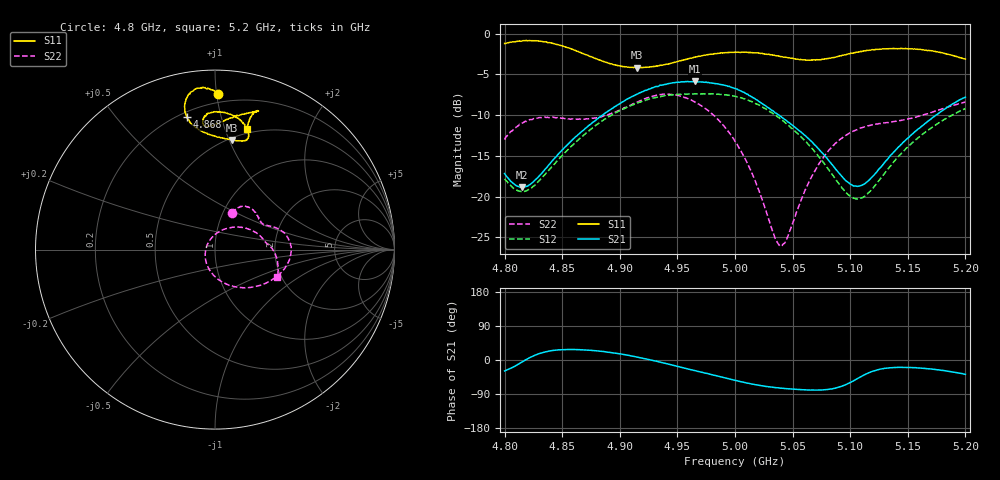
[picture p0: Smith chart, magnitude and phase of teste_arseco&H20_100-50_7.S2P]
! Network Analyzer HP8722D
! Hewlett-Packard
! Data name: Linha & Wilkinson
! Saver's name: Rodrigo Anjos
! Comments: Teste da utilização de aquisição
! continua pelo VNA HP8722D
! Time and date: 6/5/2025 12:37
!  Frequency  S11  S21  S12  S22
# HZ  S  MA R 50
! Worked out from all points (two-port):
!   401 points, 4.8 GHz to 5.2 GHz, reference 50 ohm
!   highest |S21| = -5.87 dB at 4.965 GHz (marker M1); lowest = -18.9 dB at 4.815 GHz (marker M2)
!   |S21| within 3 dB of the highest: 4.897 GHz to 5.027 GHz (129.5 MHz wide, 2.61 % of centre); 5.186321 GHz to end of sweep
!   lowest |S11| = -4.2 dB at 4.915 GHz (marker M3), VSWR 4.23, Z = 26 + j51.2 ohm
!   |S11| at or under -10 dB: nowhere
!   |S22| runs from -26.1 to -7.4 dB; largest |S21 - S12| = 0.88
!   S11 on the Smith chart (normalised r, x): 4.8 GHz: 0.14, +1.01; 4.868 GHz: 0.23, +0.78; 5.2 GHz: 0.46, +1.19
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4.8e9  0.8689 88.8  0.1385 -28.8  0.1283 99.6  0.2234 64.7
4.815e9  0.8978 93.2  0.1139 -5.5  0.1069 120.0  0.2812 58.5
4.844e9  0.8616 100.5  0.1737 25.8  0.1602 150.6  0.3048 40.9
4.867e9  0.7574 102.0  0.2508 26.8  0.2323 154.8  0.2975 30.9
4.868e9  0.7536 101.9  0.2546 26.8  0.2356 154.8  0.2976 30.6
4.894e9  0.6458 93.8  0.3485 18.8  0.3193 149.8  0.3248 24.0
4.915e9  0.6174 81.2  0.4242 7.7  0.3734 141.7  0.3792 16.7
4.934e9  0.6351 74.0  0.4765 -5.0  0.4099 131.2  0.4207 4.9
4.965e9  0.7167 76.6  0.5089 -28.0  0.4268 112.0  0.38 -22.0
4.984e9  0.7527 82.2  0.4921 -41.4  0.4237 99.4  0.3028 -43.0
5e9  0.7677 87.7  0.4601 -53.5  0.4122 88.0  0.2182 -66.5
5.02e9  0.76 93.0  0.3865 -66.4  0.3667 74.3  0.1122 -107.7
5.034e9  0.7365 94.9  0.3307 -72.3  0.3188 66.7  0.05756 -160.3
5.039e9  0.7224 95.5  0.3122 -73.9  0.3011 64.8  0.04959 168.8
5.045e9  0.7133 95.4  0.2911 -75.8  0.2778 62.4  0.05506 129.9
5.067e9  0.6876 93.3  0.2157 -79.1  0.1971 58.6  0.1341 61.1
5.085e9  0.7126 87.2  0.1549 -75.7  0.1346 64.1  0.2049 36.2
5.105e9  0.767 79.1  0.1158 -51.3  0.09662 92.2  0.256 19.3
5.115e9  0.7884 75.7  0.1235 -35.3  0.1037 110.1  0.2711 13.7
5.134e9  0.8073 72.7  0.1747 -20.6  0.1511 126.4  0.2862 7.8
5.17e9  0.7835 74.4  0.2979 -23.6  0.2629 122.1  0.3272 -1.4
5.2e9  0.6966 75.1  0.4075 -37.8  0.3468 110.7  0.38 -23.9
